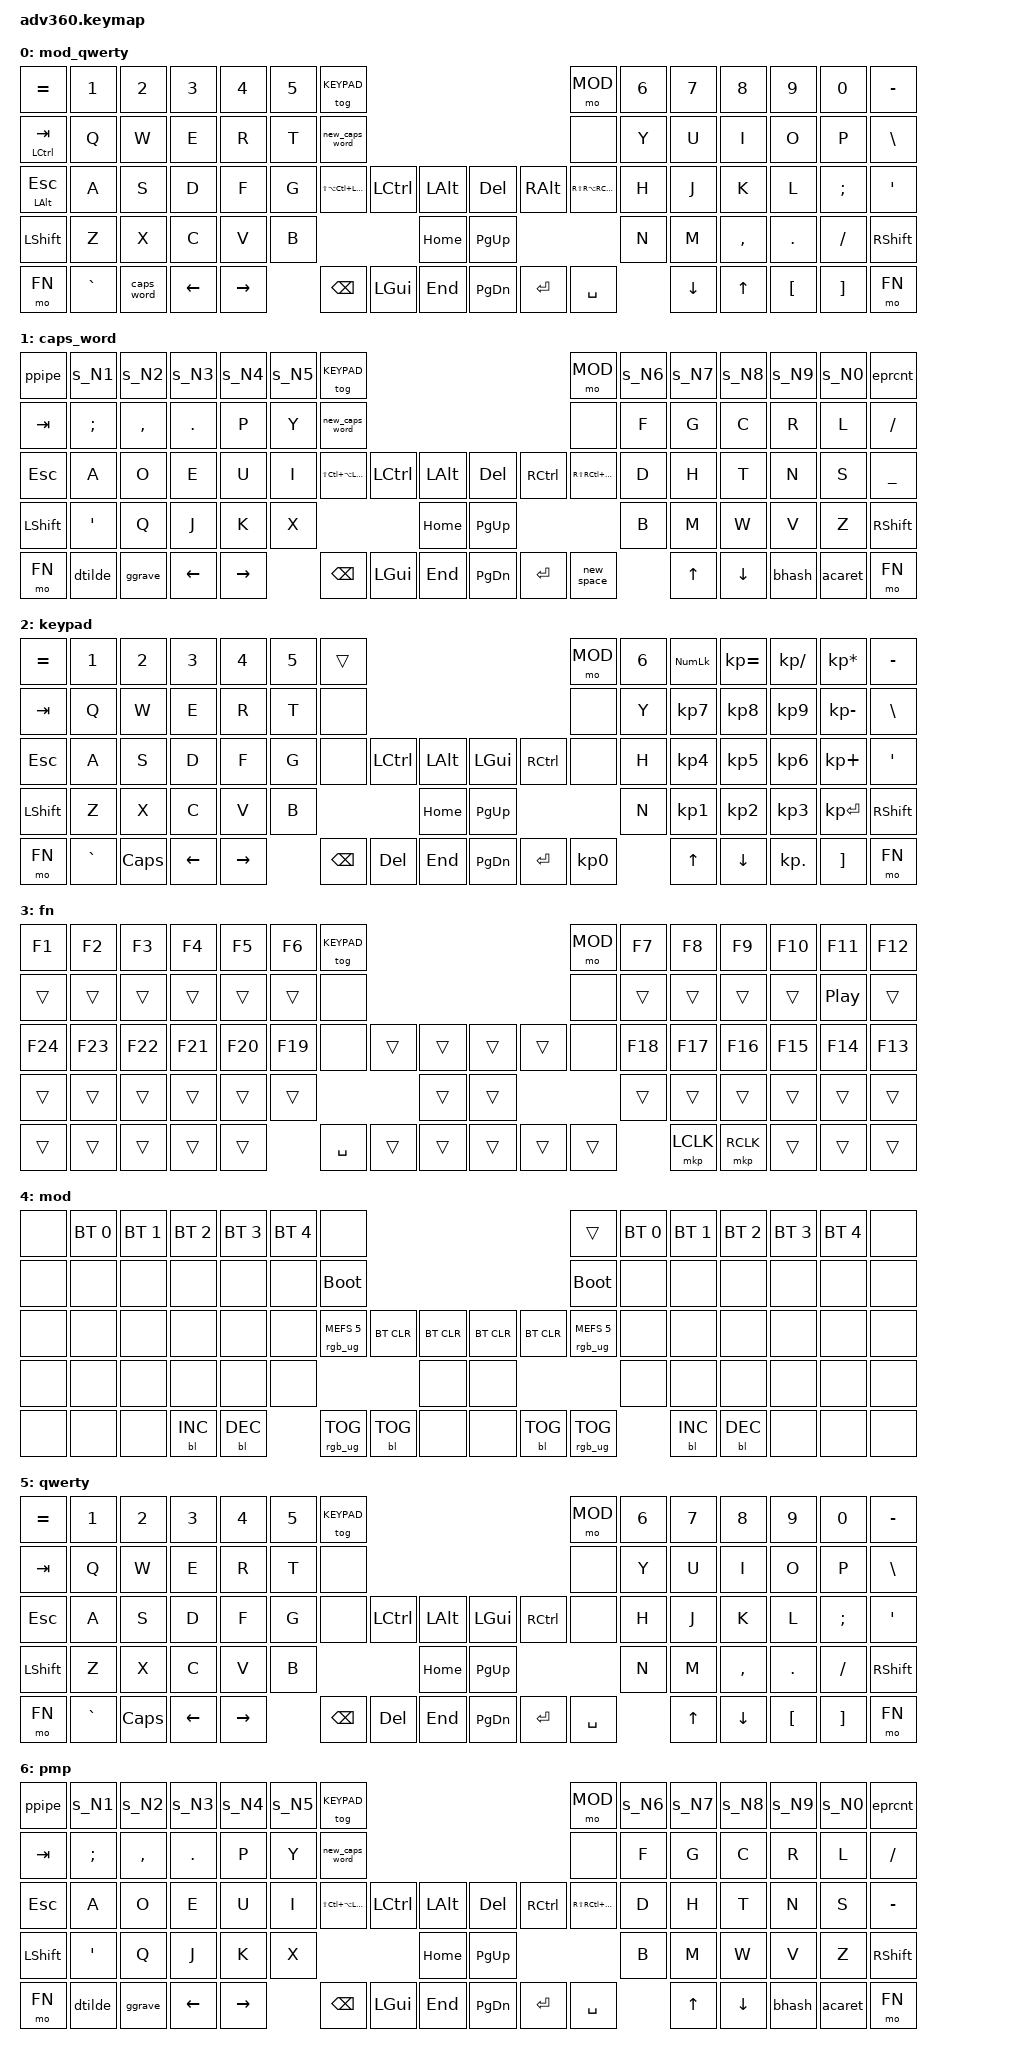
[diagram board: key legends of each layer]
#include <behaviors.dtsi>
#include <dt-bindings/zmk/backlight.h>
#include <dt-bindings/zmk/bt.h>
#include <dt-bindings/zmk/keys.h>
#include <dt-bindings/zmk/mouse.h>
#include <dt-bindings/zmk/rgb.h>

// HK is Hyper Key

#define HK_L LS(LC(LA(LGUI)))
#define HK_R RS(RC(RA(RGUI)))

// Layers

#define NEO_DVORAK 0
#define CAPS_WORD 1
#define KEYPAD  2
#define FN 3
#define MOD 4
#define QWERTY 5

/ {
    behaviors {
        #include "macros.dtsi"

        hm: homerow_mods {
            compatible = "zmk,behavior-hold-tap";
            label = "HOMEROW_MODS";
            #binding-cells = <2>;
            tapping-term-ms = <200>;
            quick_tap_ms = <175>;
            flavor = "tap-preferred";
            bindings = <&kp>, <&kp>;
        };

        s_N1: plus_kp_n1 {
            compatible = "zmk,behavior-mod-morph";
            label = "plus_kp_n1";
            #binding-cells = <0>;
            bindings = <&kp PLUS>, <&kp N1>;

            mods = <(MOD_LSFT|MOD_RSFT)>;
        };

        s_N2: left_bracket_kp_n2 {
            compatible = "zmk,behavior-mod-morph";
            label = "left_bracket_kp_n2";
            #binding-cells = <0>;
            bindings = <&kp LBKT>, <&kp N2>;

            mods = <(MOD_LSFT|MOD_RSFT)>;
        };

        s_N3: left_brace_kp_n3 {
            compatible = "zmk,behavior-mod-morph";
            label = "left_brace_kp_n3";
            #binding-cells = <0>;
            bindings = <&kp LEFT_BRACE>, <&kp N3>;

            mods = <(MOD_LSFT|MOD_RSFT)>;
        };

        s_N4: left_parenthesis_kp_n4 {
            compatible = "zmk,behavior-mod-morph";
            label = "left_parenthesis_kp_n4";
            #binding-cells = <0>;
            bindings = <&kp LEFT_PARENTHESIS>, <&kp N4>;

            mods = <(MOD_LSFT|MOD_RSFT)>;
        };

        s_N5: amps_kp_n5 {
            compatible = "zmk,behavior-mod-morph";
            label = "amps_kp_n5";
            #binding-cells = <0>;
            bindings = <&kp AMPS>, <&kp N5>;

            mods = <(MOD_LSFT|MOD_RSFT)>;
        };

        s_N6: equal_kp_n6 {
            compatible = "zmk,behavior-mod-morph";
            label = "equal_kp_n6";
            #binding-cells = <0>;
            bindings = <&kp KP_EQUAL>, <&kp N6>;

            mods = <(MOD_LSFT|MOD_RSFT)>;
        };

        s_N7: right_parenthesis_kp_n7 {
            compatible = "zmk,behavior-mod-morph";
            label = "right_parenthesis_kp_n7";
            #binding-cells = <0>;
            bindings = <&kp RIGHT_PARENTHESIS>, <&kp N7>;

            mods = <(MOD_LSFT|MOD_RSFT)>;
        };

        s_N8: right_brace_kp_n8 {
            compatible = "zmk,behavior-mod-morph";
            label = "right_brace_kp_n8";
            #binding-cells = <0>;
            bindings = <&kp RIGHT_BRACE>, <&kp N8>;

            mods = <(MOD_LSFT|MOD_RSFT)>;
        };

        s_N9: right_bracket_kp_n9 {
            compatible = "zmk,behavior-mod-morph";
            label = "right_bracket_kp_n9";
            #binding-cells = <0>;
            bindings = <&kp RBKT>, <&kp N9>;

            mods = <(MOD_LSFT|MOD_RSFT)>;
        };

        s_N0: star_kp_n0 {
            compatible = "zmk,behavior-mod-morph";
            label = "star_kp_n0";
            #binding-cells = <0>;
            bindings = <&kp STAR>, <&kp N0>;

            mods = <(MOD_LSFT|MOD_RSFT)>;
        };

        ppipe: pipe_pipe {
            compatible = "zmk,behavior-mod-morph";
            label = "pipe_pipe";
            #binding-cells = <0>;
            bindings = <&kp PIPE>, <&kp PIPE>;

            mods = <(MOD_LSFT|MOD_RSFT)>;
        };

        eprcnt: excl_prcnt {
            compatible = "zmk,behavior-mod-morph";
            label = "excl_prcnt";
            #binding-cells = <0>;
            bindings = <&kp EXCL>, <&kp PRCNT>;

            mods = <(MOD_LSFT|MOD_RSFT)>;
        };

        dtilde: dllr_tilde {
            compatible = "zmk,behavior-mod-morph";
            label = "dllr_tilde";
            #binding-cells = <0>;
            bindings = <&kp DLLR>, <&kp TILDE>;

            mods = <(MOD_LSFT|MOD_RSFT)>;
        };

        ggrave: grave_grave {
            compatible = "zmk,behavior-mod-morph";
            label = "grave_grave";
            #binding-cells = <0>;
            bindings = <&kp GRAVE>, <&kp PIPE>;

            mods = <(MOD_LSFT|MOD_RSFT)>;
        };

        bhash: bslh_hash {
            compatible = "zmk,behavior-mod-morph";
            label = "bslh_hash";
            #binding-cells = <0>;
            bindings = <&kp BSLH>, <&kp HASH>;

            mods = <(MOD_LSFT|MOD_RSFT)>;
        };

        acaret: at_caret {
            compatible = "zmk,behavior-mod-morph";
            label = "at_caret";
            #binding-cells = <0>;
            bindings = <&kp AT>, <&kp CARET>;

            mods = <(MOD_LSFT|MOD_RSFT)>;
        };

        new_caps_word: new_caps_word {
            label = "new_caps_word";
            compatible = "zmk,behavior-macro";
            #binding-cells = <0>;
            bindings = <&macro_tap>, <&caps_word &tog CAPS_WORD>;
        };

        new_space: new_space {
            label = "new_space";
            compatible = "zmk,behavior-macro";
            #binding-cells = <0>;
            bindings = <&macro_tap>, <&kp SPACE &tog CAPS_WORD>;
        };

        combos {
            compatible = "zmk,combos";

            combo_esc {
                timeout-ms = <50>;
                key-positions = <0 1>;
                bindings = <&tog QWERTY>;
            };

            pmp_layer {
                bindings = <&tog 6>;
                key-positions = <0 13>;
            };
        };
    };

    macros {
    };

    keymap {
        compatible = "zmk,keymap";

        mod_qwerty {
            bindings = <
&kp EQUAL      &kp N1     &kp N2      &kp N3    &kp N4     &kp N5  &tog KEYPAD                                                              &mo MOD               &kp N6  &kp N7    &kp N8     &kp N9            &kp N0             &kp MINUS
&mt LCTRL TAB  &kp Q      &kp W       &kp E     &kp R      &kp T   &new_caps_word                                                           &none                 &kp Y   &kp U     &kp I      &kp O             &kp P              &kp BACKSLASH
&mt LALT ESC   &kp A      &kp S       &kp D     &kp F      &kp G   &kp LS(LA(LC(LGUI)))  &kp LCTRL  &kp LALT      &kp DEL    &kp RIGHT_ALT  &kp RS(RA(RC(RGUI)))  &kp H   &kp J     &kp K      &kp L             &kp SEMICOLON      &kp SQT
&kp LSHFT      &kp Z      &kp X       &kp C     &kp V      &kp B                                    &kp HOME      &kp PG_UP                                       &kp N   &kp M     &kp COMMA  &kp PERIOD        &kp SLASH          &kp RSHFT
&mo FN         &kp GRAVE  &caps_word  &kp LEFT  &kp RIGHT          &kp BSPC              &kp LGUI   &kp END       &kp PG_DN  &kp ENTER      &kp SPACE                     &kp DOWN  &kp UP     &kp LEFT_BRACKET  &kp RIGHT_BRACKET  &mo FN
            >;
        };

        caps_word {
            bindings = <
&ppipe     &s_N1     &s_N2      &s_N3     &s_N4      &s_N5  &tog KEYPAD                                                    &mo MOD     &s_N6  &s_N7   &s_N8     &s_N9   &s_N0    &eprcnt
&kp TAB    &kp SEMI  &kp COMMA  &kp DOT   &kp P      &kp Y  &new_caps_word                                                 &none       &kp F  &kp G   &kp C     &kp R   &kp L    &kp FSLH
&kp ESC    &kp A     &kp O      &kp E     &kp U      &kp I  &kp HK_L        &kp LCTRL  &kp LALT      &kp DEL    &kp RCTRL  &kp HK_R    &kp D  &kp H   &kp T     &kp N   &kp S    &kp UNDERSCORE
&kp LSHFT  &kp SQT   &kp Q      &kp J     &kp K      &kp X                             &kp HOME      &kp PG_UP                         &kp B  &kp M   &kp W     &kp V   &kp Z    &kp RSHFT
&mo FN     &dtilde   &ggrave    &kp LEFT  &kp RIGHT         &kp BSPC        &kp LGUI   &kp END       &kp PG_DN  &kp ENTER  &new_space         &kp UP  &kp DOWN  &bhash  &acaret  &mo FN
            >;
        };

        keypad {
            bindings = <
&kp EQUAL  &kp N1     &kp N2    &kp N3    &kp N4     &kp N5  &trans                                                   &mo MOD    &kp N6  &kp KP_NUM  &kp KP_EQUAL  &kp KP_DIVIDE  &kp KP_MULTIPLY  &kp MINUS
&kp TAB    &kp Q      &kp W     &kp E     &kp R      &kp T   &none                                                    &none      &kp Y   &kp KP_N7   &kp KP_N8     &kp KP_N9      &kp KP_MINUS     &kp BSLH
&kp ESC    &kp A      &kp S     &kp D     &kp F      &kp G   &none     &kp LCTRL  &kp LALT      &kp LGUI   &kp RCTRL  &none      &kp H   &kp KP_N4   &kp KP_N5     &kp KP_N6      &kp KP_PLUS      &kp SQT
&kp LSHFT  &kp Z      &kp X     &kp C     &kp V      &kp B                        &kp HOME      &kp PG_UP                        &kp N   &kp KP_N1   &kp KP_N2     &kp KP_N3      &kp KP_ENTER     &kp RSHFT
&mo FN     &kp GRAVE  &kp CAPS  &kp LEFT  &kp RIGHT          &kp BSPC  &kp DEL    &kp END       &kp PG_DN  &kp ENTER  &kp KP_N0          &kp UP      &kp DOWN      &kp KP_DOT     &kp RBKT         &mo FN
            >;
        };

        fn {
            bindings = <
&kp F1   &kp F2   &kp F3   &kp F4   &kp F5   &kp F6   &tog KEYPAD                                      &mo MOD  &kp F7   &kp F8     &kp F9     &kp F10  &kp F11   &kp F12
&trans   &trans   &trans   &trans   &trans   &trans   &none                                            &none    &trans   &trans     &trans     &trans   &kp C_PP  &trans
&kp F24  &kp F23  &kp F22  &kp F21  &kp F20  &kp F19  &none        &trans  &trans      &trans  &trans  &none    &kp F18  &kp F17    &kp F16    &kp F15  &kp F14   &kp F13
&trans   &trans   &trans   &trans   &trans   &trans                        &trans      &trans                   &trans   &trans     &trans     &trans   &trans    &trans
&trans   &trans   &trans   &trans   &trans            &kp SPACE    &trans  &trans      &trans  &trans  &trans            &mkp LCLK  &mkp RCLK  &trans   &trans    &trans
            >;
        };

        mod {
            bindings = <
&none  &bt BT_SEL 0  &bt BT_SEL 1  &bt BT_SEL 2  &bt BT_SEL 3  &bt BT_SEL 4  &none                                                                       &trans                  &bt BT_SEL 0  &bt BT_SEL 1  &bt BT_SEL 2  &bt BT_SEL 3  &bt BT_SEL 4  &none
&none  &none         &none         &none         &none         &none         &bootloader                                                                 &bootloader             &none         &none         &none         &none         &none         &none
&none  &none         &none         &none         &none         &none         &rgb_ug RGB_MEFS_CMD 5  &bt BT_CLR  &bt BT_CLR      &bt BT_CLR  &bt BT_CLR  &rgb_ug RGB_MEFS_CMD 5  &none         &none         &none         &none         &none         &none
&none  &none         &none         &none         &none         &none                                             &none           &none                                           &none         &none         &none         &none         &none         &none
&none  &none         &none         &bl BL_INC    &bl BL_DEC                  &rgb_ug RGB_TOG         &bl BL_TOG  &none           &none       &bl BL_TOG  &rgb_ug RGB_TOG                       &bl BL_INC    &bl BL_DEC    &none         &none         &none
            >;
        };

        qwerty {
            bindings = <
&kp EQUAL  &kp N1     &kp N2    &kp N3    &kp N4     &kp N5  &tog KEYPAD                                                 &mo MOD    &kp N6  &kp N7  &kp N8     &kp N9    &kp N0    &kp MINUS
&kp TAB    &kp Q      &kp W     &kp E     &kp R      &kp T   &none                                                       &none      &kp Y   &kp U   &kp I      &kp O     &kp P     &kp BSLH
&kp ESC    &kp A      &kp S     &kp D     &kp F      &kp G   &none        &kp LCTRL  &kp LALT      &kp LGUI   &kp RCTRL  &none      &kp H   &kp J   &kp K      &kp L     &kp SEMI  &kp SQT
&kp LSHFT  &kp Z      &kp X     &kp C     &kp V      &kp B                           &kp HOME      &kp PG_UP                        &kp N   &kp M   &kp COMMA  &kp DOT   &kp FSLH  &kp RSHFT
&mo FN     &kp GRAVE  &kp CAPS  &kp LEFT  &kp RIGHT          &kp BSPC     &kp DEL    &kp END       &kp PG_DN  &kp ENTER  &kp SPACE          &kp UP  &kp DOWN   &kp LBKT  &kp RBKT  &mo FN
            >;
        };

        pmp {
            bindings = <
&ppipe     &s_N1     &s_N2      &s_N3     &s_N4      &s_N5  &tog KEYPAD                                                    &mo MOD    &s_N6  &s_N7   &s_N8     &s_N9   &s_N0    &eprcnt
&kp TAB    &kp SEMI  &kp COMMA  &kp DOT   &kp P      &kp Y  &new_caps_word                                                 &none      &kp F  &kp G   &kp C     &kp R   &kp L    &kp FSLH
&kp ESC    &kp A     &kp O      &kp E     &kp U      &kp I  &kp HK_L        &kp LCTRL  &kp LALT      &kp DEL    &kp RCTRL  &kp HK_R   &kp D  &kp H   &kp T     &kp N   &kp S    &kp MINUS
&kp LSHFT  &kp SQT   &kp Q      &kp J     &kp K      &kp X                             &kp HOME      &kp PG_UP                        &kp B  &kp M   &kp W     &kp V   &kp Z    &kp RSHFT
&mo FN     &dtilde   &ggrave    &kp LEFT  &kp RIGHT         &kp BSPC        &kp LGUI   &kp END       &kp PG_DN  &kp ENTER  &kp SPACE         &kp UP  &kp DOWN  &bhash  &acaret  &mo FN
            >;
        };
    };
};
